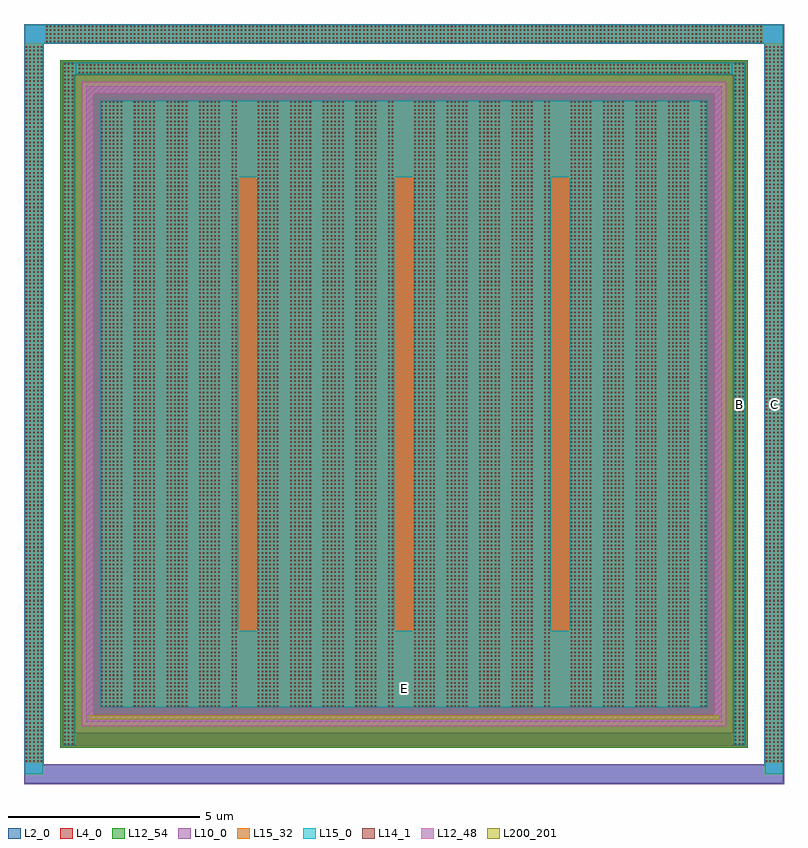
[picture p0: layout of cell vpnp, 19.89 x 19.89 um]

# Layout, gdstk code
import gdstk
lib = gdstk.Library(unit=1e-6, precision=1e-09)
def R(c, l, rs):  # rectangles x0, y0, x1, y1
    for r in rs: c.add(gdstk.rectangle(r[:2], r[2:], *l))
def A(c, l, x, y, w, h, nx, ny, dx, dy):  # array of equal rectangles
    R(c, l, [(x+i*dx, y+j*dy, x+i*dx+w, y+j*dy+h) for i in range(nx) for j in range(ny)])
L2_0 = (2, 0)
L4_0 = (4, 0)
L10_0 = (10, 0)
L12_48 = (12, 48)
L12_54 = (12, 54)
L14_1 = (14, 1)
L15_0 = (15, 0)
L15_32 = (15, 32)
L200_201 = (200, 201)

vpnp = lib.new_cell('vpnp')
R(vpnp, L2_0, [(-16.429,-8.459,3.423,-7.979), (-16.429,-7.979,-15.949,10.913), (2.943,-7.979,3.423,10.913), (-15.449,-7.479,2.443,-7.139), (-15.449,-7.139,-15.109,10.073), (2.103,-7.139,2.443,10.073), (-14.753,-6.783,1.747,9.717), (-15.449,10.073,2.443,10.413), (-16.429,10.913,3.423,11.393)])
R(vpnp, L4_0, [(-15.505,-7.535,2.499,10.469)])
R(vpnp, L10_0, [(-16.45,-8.48,3.444,-7.958), (-16.45,-7.958,-15.928,10.892), (2.922,-7.958,3.444,10.892), (-14.823,-6.853,1.817,9.787), (-16.45,10.892,3.444,11.414)])
R(vpnp, L12_48, [(-14.934,-6.964,1.928,-6.658), (-14.934,-6.658,-14.628,9.592), (1.622,-6.658,1.928,9.592), (-14.934,9.592,1.928,9.898)])
R(vpnp, L12_54, [(-15.505,-7.535,2.499,10.469)])
A(vpnp, L14_1, -16.409, -7.903, 0.04, 0.04, 5, 188, 0.1, 0.1)
A(vpnp, L14_1, 2.963, -7.903, 0.04, 0.04, 5, 188, 0.1, 0.1)
A(vpnp, L14_1, -15.399, -7.453, 0.04, 0.04, 3, 179, 0.1, 0.1)
A(vpnp, L14_1, 2.153, -7.453, 0.04, 0.04, 3, 179, 0.1, 0.1)
A(vpnp, L14_1, -14.423, -6.453, 0.04, 0.04, 6, 159, 0.1, 0.1)
A(vpnp, L14_1, -13.571, -6.453, 0.04, 0.04, 6, 159, 0.1, 0.1)
A(vpnp, L14_1, -12.719, -6.453, 0.04, 0.04, 6, 159, 0.1, 0.1)
A(vpnp, L14_1, -11.867, -6.453, 0.04, 0.04, 6, 159, 0.1, 0.1)
A(vpnp, L14_1, -11.015, -6.453, 0.04, 0.04, 1, 159, 0, 0.1)
A(vpnp, L14_1, -10.915, -6.453, 0.04, 0.04, 1, 159, 0, 0.1)
A(vpnp, L14_1, -10.329, -6.453, 0.04, 0.04, 6, 159, 0.1, 0.1)
A(vpnp, L14_1, -9.477, -6.453, 0.04, 0.04, 6, 159, 0.1, 0.1)
A(vpnp, L14_1, -8.625, -6.453, 0.04, 0.04, 6, 159, 0.1, 0.1)
A(vpnp, L14_1, -7.773, -6.453, 0.04, 0.04, 6, 159, 0.1, 0.1)
A(vpnp, L14_1, -6.921, -6.453, 0.04, 0.04, 1, 159, 0, 0.1)
A(vpnp, L14_1, -6.821, -6.453, 0.04, 0.04, 1, 159, 0, 0.1)
A(vpnp, L14_1, -6.235, -6.453, 0.04, 0.04, 6, 159, 0.1, 0.1)
A(vpnp, L14_1, -5.383, -6.453, 0.04, 0.04, 6, 159, 0.1, 0.1)
A(vpnp, L14_1, -4.531, -6.453, 0.04, 0.04, 6, 159, 0.1, 0.1)
A(vpnp, L14_1, -3.679, -6.453, 0.04, 0.04, 6, 159, 0.1, 0.1)
A(vpnp, L14_1, -2.827, -6.453, 0.04, 0.04, 1, 159, 0, 0.1)
A(vpnp, L14_1, -2.727, -6.453, 0.04, 0.04, 1, 159, 0, 0.1)
A(vpnp, L14_1, -2.141, -6.453, 0.04, 0.04, 6, 159, 0.1, 0.1)
A(vpnp, L14_1, -1.289, -6.453, 0.04, 0.04, 6, 159, 0.1, 0.1)
A(vpnp, L14_1, -0.437, -6.453, 0.04, 0.04, 6, 159, 0.1, 0.1)
A(vpnp, L14_1, 0.415, -6.453, 0.04, 0.04, 6, 159, 0.1, 0.1)
A(vpnp, L14_1, 1.267, -6.453, 0.04, 0.04, 1, 159, 0, 0.1)
A(vpnp, L14_1, 1.367, -6.453, 0.04, 0.04, 1, 159, 0, 0.1)
A(vpnp, L14_1, -15.023, 10.123, 0.04, 0.04, 171, 3, 0.1, 0.1)
A(vpnp, L14_1, -15.873, 10.933, 0.04, 0.04, 188, 5, 0.1, 0.1)
A(vpnp, L15_0, -14.441, -4.471, 3.594, 11.876, 4, 1, 4.094, 0)
R(vpnp, L15_0, [(-16.427,-8.219,-15.951,11.391), (2.945,-8.219,3.421,11.391), (-15.417,-7.471,-15.141,10.405), (2.135,-7.471,2.411,10.405), (-14.441,-6.471,1.435,-4.471), (-14.441,7.405,1.435,9.405), (-15.141,10.105,2.135,10.405), (-15.951,10.915,2.945,11.391)])
R(vpnp, L15_32, [(-16.427,-7.921,-15.951,10.915), (2.945,-7.921,3.421,10.915), (-15.417,-7.471,-15.141,10.405), (2.135,-7.471,2.411,10.405), (-14.441,-6.471,1.435,9.405), (-15.041,10.105,2.035,10.381), (-15.891,10.915,2.885,11.391)])
R(vpnp, L200_201, [(-14.753,-6.783,1.747,-6.683)])
vpnp.add(gdstk.Label('E', (-6.503,-5.971), layer=15, texttype=20))
vpnp.add(gdstk.Label('B', (2.273,1.467), layer=15, texttype=20))
vpnp.add(gdstk.Label('C', (3.183,1.467), layer=15, texttype=20))

lib.write_gds('vpnp.gds')
